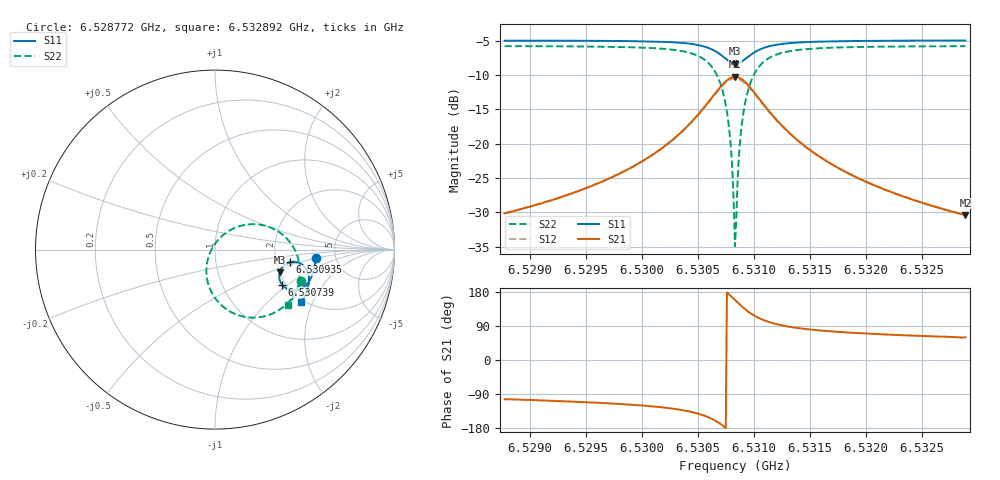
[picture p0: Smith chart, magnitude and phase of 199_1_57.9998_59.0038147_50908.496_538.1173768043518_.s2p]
#  HZ  S  RI  R  50.00
! Rohde & Schwarz Vector Network Analyzer
! Rohde-Schwarz,ZNB20-2Port,1311601062101988,3.16
! Created: UTC 3/21/2024, 12:59:09 AM
! freq[Hz]  re:S11  im:S11  re:S21  im:S21  re:S12  im:S12  re:S22  im:S22
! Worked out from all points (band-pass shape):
!   401 points, 6.528772 GHz to 6.532892 GHz, reference 50 ohm
!   highest |S21| = -10.26 dB at 6.530832 GHz (marker M1); lowest = -30.4 dB at 6.532892 GHz (marker M2)
!   |S21| within 3 dB of the highest: 6.530627 GHz to 6.531039 GHz (412 kHz wide, 0.00631 % of centre)
!   lowest |S11| = -8.4 dB at 6.530832 GHz (marker M3), VSWR 2.24, Z = 101 - j29.7 ohm
!   |S11| at or under -10 dB: nowhere
!   |S22| runs from -34.9 to -5.8 dB; largest |S21 - S12| = 0.012
!   S11 on the Smith chart (normalised r, x): 6.528772 GHz: 3.49, -0.51; 6.530739 GHz: 1.91, -0.91; 6.530935 GHz: 2.37, -0.41; 6.532892 GHz: 1.92, -1.66
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6.5287724e9  0.5604 -0.0496  -0.00728 -0.0302  -0.00784 -0.0302  0.4817 -0.1775
6.5294624e9  0.5512 -0.1074  -0.0164 -0.0432  -0.0176 -0.0428  0.4499 -0.2408
6.5301523e9  0.5241 -0.1766  -0.0502 -0.0741  -0.0524 -0.0727  0.3673 -0.3297
6.5303892e9  0.4976 -0.2071  -0.0899 -0.0936  -0.0928 -0.0905  0.286 -0.3688
6.5305642e9  0.4542 -0.2271  -0.1582 -0.1002  -0.1605 -0.0937  0.1599 -0.3737
6.5306672e9  0.4092 -0.2225  -0.228 -0.074  -0.227 -0.0642  0.0432 -0.3165
6.5307393e9  0.3739 -0.1955  -0.2793 -0.0151  -0.2735 -0.00522  -0.0324 -0.208
6.5307805e9  0.3604 -0.1677  -0.295 0.0378  -0.2863 0.046  -0.0482 -0.1171
6.5307908e9  0.3588 -0.1595  -0.2962 0.0525  -0.2866 0.0602  -0.0469 -0.0926
6.5308217e9  0.3591 -0.1342  -0.2903 0.0983  -0.2794 0.103  -0.0286 -0.0189
6.530832e9  0.3608 -0.1259  -0.2854 0.1131  -0.2743 0.1169  -0.0174 0.00444
6.5308423e9  0.3637 -0.1177  -0.2789 0.1274  -0.2679 0.1301  -0.00409 0.0266
6.5308526e9  0.3673 -0.11  -0.2712 0.1409  -0.2602 0.1427  0.0111 0.0469
6.5308732e9  0.3768 -0.096  -0.2521 0.1651  -0.2417 0.165  0.0469 0.0826
6.5308938e9  0.3886 -0.0846  -0.2298 0.1843  -0.2203 0.1828  0.0874 0.1099
6.5309349e9  0.4153 -0.0708  -0.1809 0.2075  -0.1739 0.2045  0.1721 0.1387
6.531007e9  0.4585 -0.0704  -0.1054 0.2095  -0.1017 0.2066  0.2987 0.1269
6.53111e9  0.4963 -0.092  -0.0406 0.1787  -0.0388 0.1769  0.4031 0.0586
6.5312645e9  0.5185 -0.1279  -0.00152 0.1322  -2.85e-06 0.1314  0.4597 -0.0372
6.5315219e9  0.5242 -0.1713  0.0154 0.0863  0.0166 0.0859  0.4732 -0.1346
6.5322119e9  0.5068 -0.243  0.0177 0.0415  0.0185 0.0412  0.4436 -0.2503
6.5328915e9  0.4815 -0.2944  0.0154 0.0262  0.016 0.0257  0.4083 -0.31
